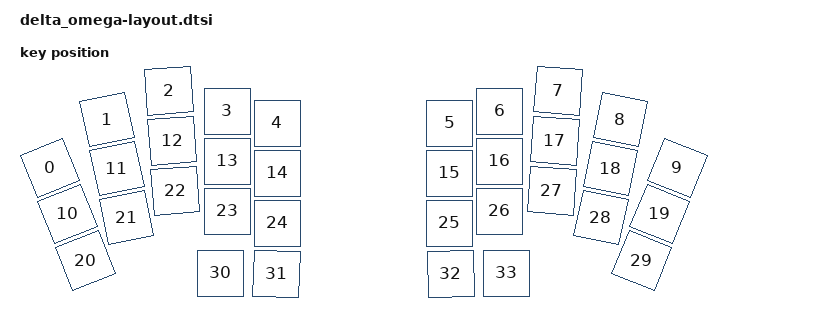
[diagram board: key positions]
#include <physical_layouts.dtsi>

/ {
    delta_omega_layout: delta_omega_layout {
        compatible = "zmk,physical-layout";
        display-name = "LAYOUT";

        kscan = <&kscan0>;
        transform = <&default_transform>;

        keys  //                     w   h    x    y     rot    rx    ry
            = <&key_physical_attrs 100 100    0  155 (-2200)    50   205>
            , <&key_physical_attrs 100 100  114   58 (-1200)   164   108>
            , <&key_physical_attrs 100 100  238    0  (-400)   288    50>
            , <&key_physical_attrs 100 100  355   41       0     0     0>
            , <&key_physical_attrs 100 100  455   65       0     0     0>
            , <&key_physical_attrs 100 100  800   65       0     0     0>
            , <&key_physical_attrs 100 100  900   41       0     0     0>
            , <&key_physical_attrs 100 100 1017    0     400  1067    50>
            , <&key_physical_attrs 100 100 1141   58    1200  1191   108>
            , <&key_physical_attrs 100 100 1255  155    2200  1305   205>
            , <&key_physical_attrs 100 100   35  247 (-2200)    85   297>
            , <&key_physical_attrs 100 100  134  156 (-1200)   184   206>
            , <&key_physical_attrs 100 100  245  100  (-400)   295   150>
            , <&key_physical_attrs 100 100  355  141       0     0     0>
            , <&key_physical_attrs 100 100  455  165       0     0     0>
            , <&key_physical_attrs 100 100  800  165       0     0     0>
            , <&key_physical_attrs 100 100  900  141       0     0     0>
            , <&key_physical_attrs 100 100 1010  100     400  1060   150>
            , <&key_physical_attrs 100 100 1121  156    1200  1171   206>
            , <&key_physical_attrs 100 100 1220  247    2200  1270   297>
            , <&key_physical_attrs 100 100   71  340 (-2200)   121   390>
            , <&key_physical_attrs 100 100  153  254 (-1200)   203   304>
            , <&key_physical_attrs 100 100  251  200  (-400)   301   250>
            , <&key_physical_attrs 100 100  355  241       0     0     0>
            , <&key_physical_attrs 100 100  455  265       0     0     0>
            , <&key_physical_attrs 100 100  800  265       0     0     0>
            , <&key_physical_attrs 100 100  900  241       0     0     0>
            , <&key_physical_attrs 100 100 1004  200     400  1054   250>
            , <&key_physical_attrs 100 100 1102  254    1200  1152   304>
            , <&key_physical_attrs 100 100 1184  340    2200  1234   390>
            , <&key_physical_attrs 100 100  342  365       0     0     0>
            , <&key_physical_attrs 100 100  453  367     200   503   417>
            , <&key_physical_attrs 100 100  802  367  (-200)   852   417>
            , <&key_physical_attrs 100 100  913  365       0     0     0>
            ;
    };
};
